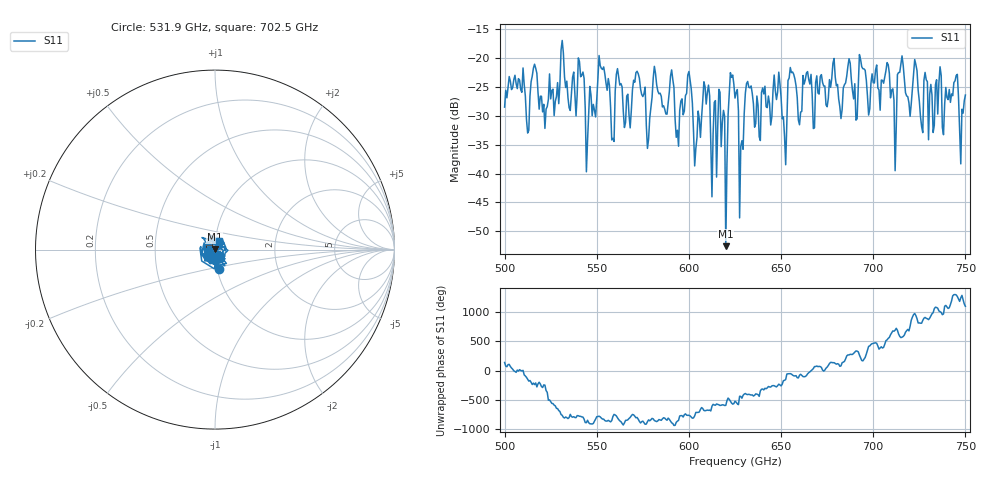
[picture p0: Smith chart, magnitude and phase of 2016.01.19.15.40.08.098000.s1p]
!Created with skrf (http://scikit-rf.org).
# GHz S RI R 50.0
!freq ReS11 ImS11
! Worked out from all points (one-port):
!   401 points, 500 GHz to 750 GHz, reference 50 ohm
!   lowest |S11| = -52.6 dB at 620 GHz (marker M1), VSWR 1.00, Z = 49.9 + j0.187 ohm
!   |S11| at or under -10 dB: start of sweep to end of sweep
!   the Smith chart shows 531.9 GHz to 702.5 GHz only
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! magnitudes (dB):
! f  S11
! 500 GHz  -28.5
! 512.5 GHz  -33.0
! 516.2 GHz  -21.1
! 521.9 GHz  -32.2
! 531.2 GHz  -17.0
! 541.2 GHz  -23.3
! 545 GHz  -34.3
! 552.5 GHz  -21.8
! 558.8 GHz  -33.9
! 562.5 GHz  -24.7
! 578.1 GHz  -34.0
! 581.2 GHz  -21.5
! 590.6 GHz  -22.1
! 593.8 GHz  -32.5
! 600 GHz  -22.3
! 603.1 GHz  -38.7
! 609.4 GHz  -28.0
! 620 GHz  -52.6
! 625 GHz  -26.9
! 628.8 GHz  -34.3
! 631.9 GHz  -24.1
! 647.5 GHz  -27.2
! 651.9 GHz  -33.6
! 656.2 GHz  -22.4
! 660 GHz  -31.6
! 687.5 GHz  -20.9
! 718.8 GHz  -26.7
! 750 GHz  -26.4
